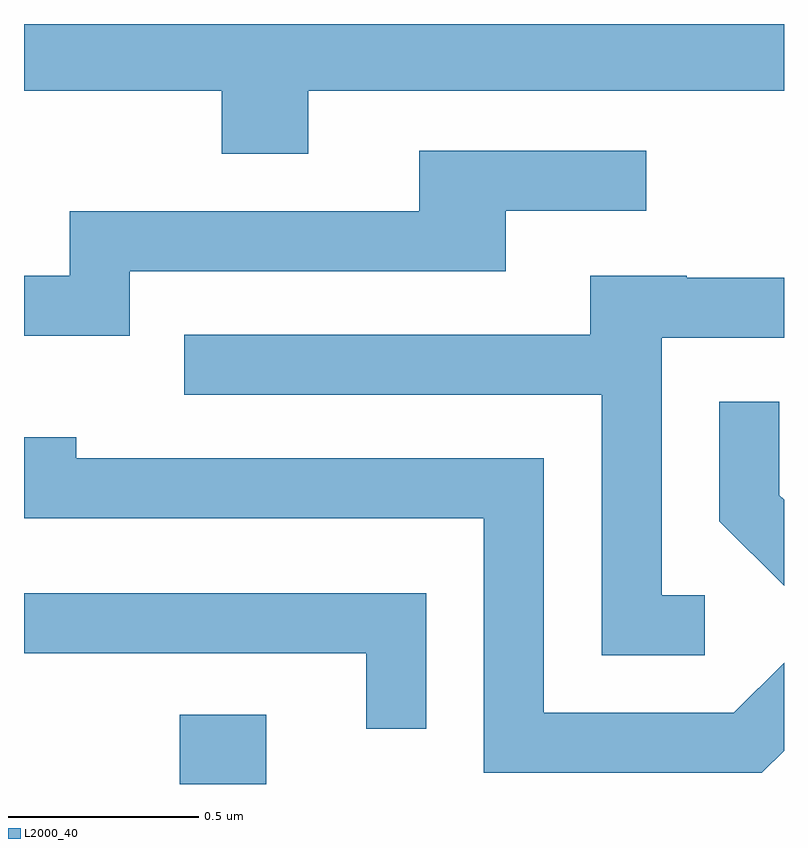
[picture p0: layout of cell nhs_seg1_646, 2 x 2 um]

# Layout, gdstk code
import gdstk
lib = gdstk.Library(unit=1e-6, precision=1e-09)
def R(c, l, rs):  # rectangles x0, y0, x1, y1
    for r in rs: c.add(gdstk.rectangle(r[:2], r[2:], *l))
def P(c, l, *ps):  # polygons
    for p in ps: c.add(gdstk.Polygon(p, *l))
L2000_40 = (2000, 40)

nhs_seg1_646 = lib.new_cell('nhs_seg1_646')
R(nhs_seg1_646, L2000_40, [(190.021,937.712,190.249,937.894)])
P(nhs_seg1_646, L2000_40, [(190.359,939.536),(191.611,939.536),(191.611,939.712),(189.611,939.712),(189.611,939.536),(190.131,939.536),(190.131,939.371),(190.359,939.371)],
  [(189.889,939.061),(190.879,939.061),(190.879,939.221),(191.248,939.221),(191.248,939.379),(190.651,939.379),(190.651,939.219),(189.731,939.219),(189.731,939.049),(189.611,939.049),(189.611,938.891),(189.889,938.891)],
  [(191.403,938.209),(191.289,938.209),(191.289,938.886),(191.611,938.886),(191.611,939.044),(191.355,939.044),(191.355,939.049),(191.101,939.049),(191.101,938.894),(190.033,938.894),(190.033,938.736),(191.131,938.736),(191.131,938.051),(191.403,938.051)],
  [(191.611,938.46),(191.599,938.472),(191.599,938.718),(191.441,938.718),(191.441,938.404),(191.611,938.234)],
  [(191.611,937.8),(191.611,938.031),(191.479,937.899),(190.979,937.899),(190.979,938.569),(189.749,938.569),(189.749,938.624),(189.611,938.624),(189.611,938.411),(190.821,938.411),(190.821,937.741),(191.552,937.741)],
  [(190.669,938.214),(189.611,938.214),(189.611,938.056),(190.511,938.056),(190.511,937.858),(190.669,937.858)])

lib.write_gds('nhs_seg1_646.gds')
